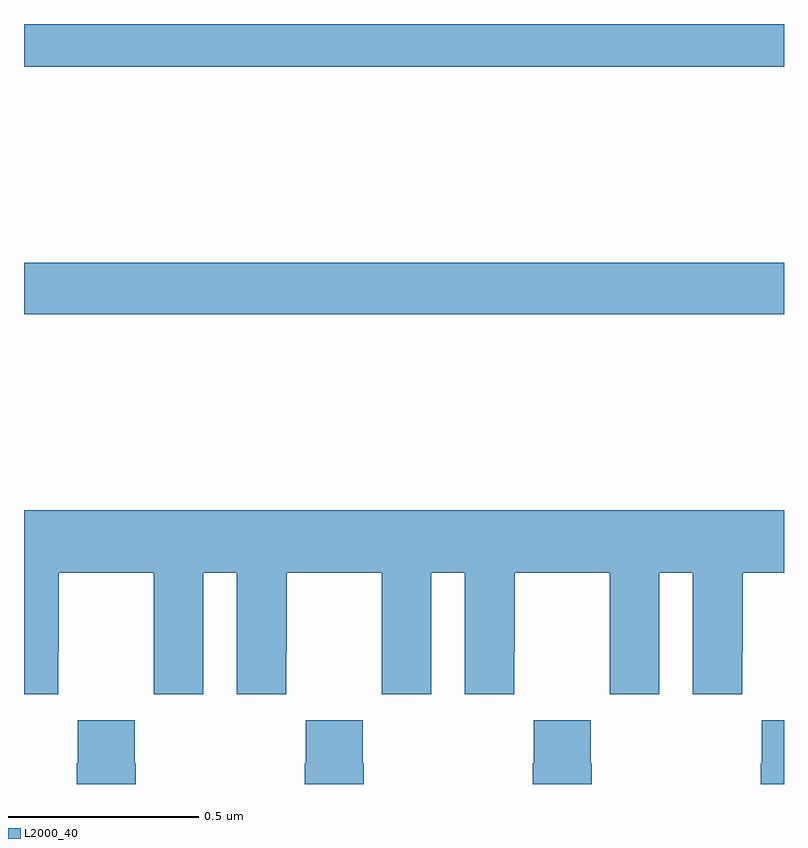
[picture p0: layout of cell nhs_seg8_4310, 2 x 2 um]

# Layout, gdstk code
import gdstk
lib = gdstk.Library(unit=1e-6, precision=1e-09)
def R(c, l, rs):  # rectangles x0, y0, x1, y1
    for r in rs: c.add(gdstk.rectangle(r[:2], r[2:], *l))
def P(c, l, *ps):  # polygons
    for p in ps: c.add(gdstk.Polygon(p, *l))
L2000_40 = (2000, 40)

nhs_seg8_4310 = lib.new_cell('nhs_seg8_4310')
R(nhs_seg8_4310, L2000_40, [(168,1161.136,170,1161.272), (168,1161.788,170,1161.9)])
P(nhs_seg8_4310, L2000_40, [(168.09,1160.248),(168.091,1160.248),(168.091,1160.456),(168.341,1160.456),(168.341,1160.248),(168.342,1160.248),(168.342,1160.136),(168.472,1160.136),(168.472,1160.456),(168.56,1160.456),(168.56,1160.136),(168.69,1160.136),(168.69,1160.248),(168.691,1160.248),(168.691,1160.456),(168.941,1160.456),(168.941,1160.248),(168.942,1160.248),(168.942,1160.136),(169.072,1160.136),(169.072,1160.456),(169.16,1160.456),(169.16,1160.136),(169.29,1160.136),(169.29,1160.248),(169.291,1160.248),(169.291,1160.456),(169.541,1160.456),(169.541,1160.248),(169.542,1160.248),(169.542,1160.136),(169.672,1160.136),(169.672,1160.456),(169.76,1160.456),(169.76,1160.136),(169.89,1160.136),(169.89,1160.248),(169.891,1160.248),(169.891,1160.456),(170,1160.456),(170,1160.62),(168,1160.62),(168,1160.136),(168.09,1160.136)],
  [(168.294,1159.955),(168.291,1159.955),(168.291,1160.068),(168.141,1160.068),(168.141,1159.955),(168.139,1159.955),(168.139,1159.9),(168.294,1159.9)],
  [(168.894,1159.955),(168.891,1159.955),(168.891,1160.068),(168.741,1160.068),(168.741,1159.955),(168.739,1159.955),(168.739,1159.9),(168.894,1159.9)],
  [(169.341,1159.955),(169.339,1159.955),(169.339,1159.9),(169.494,1159.9),(169.494,1159.955),(169.491,1159.955),(169.491,1160.068),(169.341,1160.068)],
  [(170,1160.068),(169.941,1160.068),(169.941,1159.955),(169.939,1159.955),(169.939,1159.9),(170,1159.9)])

lib.write_gds('nhs_seg8_4310.gds')
